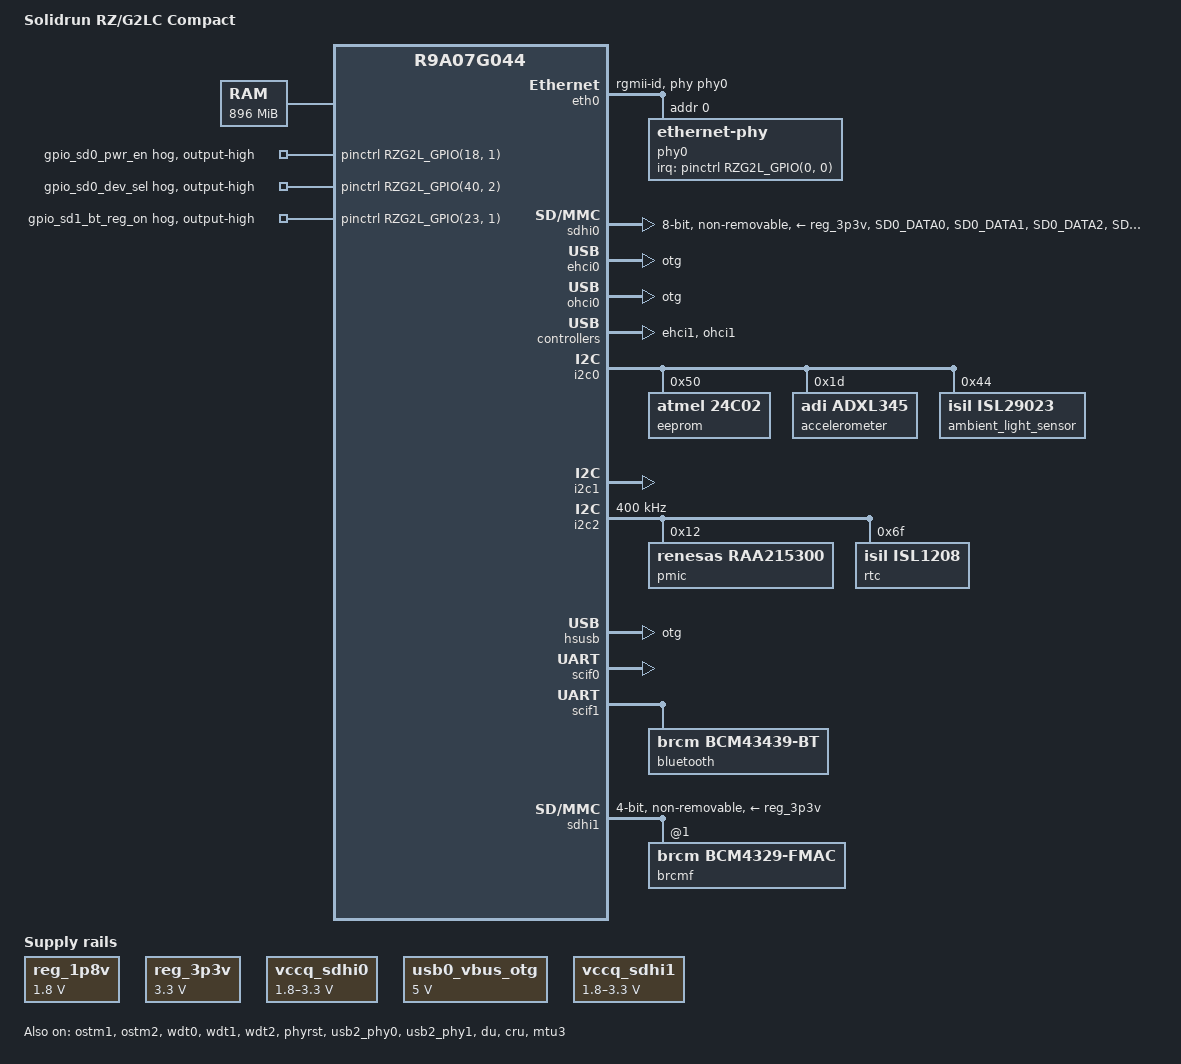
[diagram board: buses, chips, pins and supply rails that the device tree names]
// SPDX-License-Identifier: (GPL-2.0-only OR BSD-2-Clause)
/*
 * Device Tree Source for the RZ/G2LC Solidrun SOM
 *
 * Copyright (C) 2021 Renesas Electronics Corp.
 */

/dts-v1/;
/* RZ/G2LC R9A07G044C2 SoC */
#include "r9a07g044c2.dtsi"

#include <dt-bindings/gpio/gpio.h>
#include <dt-bindings/pinctrl/rzg2l-pinctrl.h>

#include "rzg2lc-compact-pinfunction.dtsi"

/*
 * DIP-Switch SW1 setting on SoM
 * 1 : High; 0: Low
 * Set switch S3[2] : SW_SD0_DEV_SEL	(1: eMMC; 0: uSD)
 */

#define SW_SD0_DEV_SEL	1
#define SW_SCIF_CAN 0

/ {
  model = "Solidrun RZ/G2LC Compact";
  compatible = "renesas,r9a07g044c2", "renesas,r9a07g044";

	aliases {
    serial0 = &scif0;
    serial1 = &scif1;
    i2c0 = &i2c0;
    i2c1 = &i2c1;
		i2c2 = &i2c2;
    mmc0 = &sdhi0;
    mmc1 = &sdhi1;
    ethernet0 = &eth0;
	};

	chosen {
		bootargs = "ignore_loglevel rw root=/dev/nfs ip=on";
	};

	memory@48000000 {
		device_type = "memory";
		/* first 128MB is reserved for secure area. */
		reg = <0x0 0x48000000 0x0 0x38000000>;
	};

	reserved-memory {
		#address-cells = <2>;
		#size-cells = <2>;
		ranges;

		global_cma: linux,cma@58000000 {
			compatible = "shared-dma-pool";
			linux,cma-default;
			reusable;
			reg = <0x0 0x58000000 0x0 0x10000000>;
		};
		mmp_reserved: linux,multimedia {
			compatible = "shared-dma-pool";
			reusable;
			reg = <0x00000000 0x68000000 0x0 0x8000000>;
		};
	};

	mmngr {
		compatible = "renesas,mmngr";
		memory-region = <&mmp_reserved>;
	};

	mmngrbuf {
		compatible = "renesas,mmngrbuf";
	};

	vspm_if {
		compatible = "renesas,vspm_if";
	};

	reg_1p8v: regulator0 {
		compatible = "regulator-fixed";
		regulator-name = "fixed-1.8V";
		regulator-min-microvolt = <1800000>;
		regulator-max-microvolt = <1800000>;
		regulator-boot-on;
		regulator-always-on;
	};

	reg_3p3v: regulator1 {
		compatible = "regulator-fixed";
		regulator-name = "fixed-3.3V";
		regulator-min-microvolt = <3300000>;
		regulator-max-microvolt = <3300000>;
		regulator-boot-on;
		regulator-always-on;
	};

	vccq_sdhi0: regulator-vccq-sdhi0 {
		compatible = "regulator-gpio";

		regulator-name = "SDHI0 VccQ";
		regulator-min-microvolt = <1800000>;
		regulator-max-microvolt = <3300000>;
		states = <3300000 1>, <1800000 0>;
		regulator-boot-on;
		gpios = <&pinctrl RZG2L_GPIO(39, 0) GPIO_ACTIVE_HIGH>;
		regulator-always-on;
	};

  chosen {
    stdout-path = "serial0:115200n8";
  };

  usb0_vbus_otg: regulator-usb0-vbus-otg {
    compatible = "regulator-fixed";

    regulator-name = "USB0_VBUS_OTG";
    regulator-min-microvolt = <5000000>;
    regulator-max-microvolt = <5000000>;
  };

  vccq_sdhi1: regulator-vccq-sdhi1 {
    compatible = "regulator-gpio";
    regulator-name = "SDHI1 VccQ";
    regulator-min-microvolt = <1800000>;
    regulator-max-microvolt = <3300000>;
    gpios-states = <1>;
    states = <3300000 1>, <1800000 0>;
  };

};

&eth0 {
	pinctrl-0 = <&eth0_pins>;
	pinctrl-names = "default";
	phy-handle = <&phy0>;
  max-speed = <100>;
	phy-mode = "rgmii-id";
	status = "okay";

	phy0: ethernet-phy@0 {
    //compatible = "ethernet-phy-id0283.bc30", "ethernet-phy-ieee802.3-c22";
		reg = <0>;
		rxc-skew-psec = <2400>;
		txc-skew-psec = <2400>;
		rxdv-skew-psec = <0>;
		txdv-skew-psec = <0>;
		rxd0-skew-psec = <0>;
		rxd1-skew-psec = <0>;
		rxd2-skew-psec = <0>;
		rxd3-skew-psec = <0>;
		txd0-skew-psec = <0>;
		txd1-skew-psec = <0>;
		txd2-skew-psec = <0>;
		txd3-skew-psec = <0>;

		interrupt-parent = <&pinctrl>;
		interrupts = <RZG2L_GPIO(0, 0) IRQ_TYPE_LEVEL_LOW>;
	};
};

&extal_clk {
	clock-frequency = <24000000>;
};

&ostm1 {
	status = "okay";
};

&ostm2 {
	status = "okay";
};

&pinctrl {
	eth0_pins: eth0 {
		pinmux = <RZG2L_PORT_PINMUX(28, 1, 1)>, /* ET0_LINKSTA */
			 <RZG2L_PORT_PINMUX(27, 1, 1)>, /* ET0_MDC */
			 <RZG2L_PORT_PINMUX(28, 0, 1)>, /* ET0_MDIO */
			 <RZG2L_PORT_PINMUX(20, 0, 1)>, /* ET0_TXC */
			 <RZG2L_PORT_PINMUX(20, 1, 1)>, /* ET0_TX_CTL */
			 <RZG2L_PORT_PINMUX(20, 2, 1)>, /* ET0_TXD0 */
			 <RZG2L_PORT_PINMUX(21, 0, 1)>, /* ET0_TXD1 */
			 <RZG2L_PORT_PINMUX(21, 1, 1)>, /* ET0_TXD2 */
			 <RZG2L_PORT_PINMUX(22, 0, 1)>, /* ET0_TXD3 */
			 <RZG2L_PORT_PINMUX(24, 0, 1)>, /* ET0_RXC */
			 <RZG2L_PORT_PINMUX(24, 1, 1)>, /* ET0_RX_CTL */
			 <RZG2L_PORT_PINMUX(25, 0, 1)>, /* ET0_RXD0 */
			 <RZG2L_PORT_PINMUX(25, 1, 1)>, /* ET0_RXD1 */
			 <RZG2L_PORT_PINMUX(26, 0, 1)>, /* ET0_RXD2 */
			 <RZG2L_PORT_PINMUX(26, 1, 1)>; /* ET0_RXD3 */
	};

	gpio-sd0-pwr-en-hog {
		gpio-hog;
		gpios = <RZG2L_GPIO(18, 1) GPIO_ACTIVE_HIGH>;
		output-high;
		line-name = "gpio_sd0_pwr_en";
	};

	qspi0_pins: qspi0 {
		qspi0-data {
			pins = "QSPI0_IO0", "QSPI0_IO1", "QSPI0_IO2", "QSPI0_IO3";
			power-source = <1800>;
		};

		qspi0-ctrl {
			pins = "QSPI0_SPCLK", "QSPI0_SSL", "QSPI_RESET#";
			power-source = <1800>;
		};
	};

	/*
	 * SD0 device selection is XOR between GPIO_SD0_DEV_SEL and SW1[2]
	 * The below switch logic can be used to select the device between
	 * eMMC and microSD, after setting GPIO_SD0_DEV_SEL to high in DT.
	 * SW1[2] should be at OFF position to enable 64 GB eMMC
	 * SW1[2] should be at position ON to enable uSD card CN3
	 */

	gpio-sd0-dev-sel-hog {
		gpio-hog;
		gpios = <RZG2L_GPIO(40, 2) GPIO_ACTIVE_HIGH>;
		output-high;
		line-name = "gpio_sd0_dev_sel";
	};

  gpio-sd1-bt_reg_on {
    gpio-hog;
    gpios = <RZG2L_GPIO(23, 1) GPIO_ACTIVE_HIGH>;
    output-high;
    line-name = "gpio_sd1_bt_reg_on";
  };

	sdhi0_emmc_pins: sd0emmc {
		sd0_emmc_data {
			pins = "SD0_DATA0", "SD0_DATA1", "SD0_DATA2", "SD0_DATA3",
			       "SD0_DATA4", "SD0_DATA5", "SD0_DATA6", "SD0_DATA7";
			power-source = <1800>;
		};

		sd0_emmc_ctrl {
			pins = "SD0_CLK", "SD0_CMD";
			power-source = <1800>;
		};

		sd0_emmc_rst {
			pins = "SD0_RST#";
			power-source = <1800>;
		};
	};

	sdhi0_pins: sd0 {
		sd0_data {
			pins = "SD0_DATA0", "SD0_DATA1", "SD0_DATA2", "SD0_DATA3";
			power-source = <3300>;
		};

		sd0_ctrl {
			pins = "SD0_CLK", "SD0_CMD";
			power-source = <3300>;
		};

		sd0_mux {
			pinmux = <RZG2L_PORT_PINMUX(18, 0, 1)>; /* SD0_CD */
		};
	};

	sdhi0_pins_uhs: sd0_uhs {
		sd0_data_uhs {
			pins = "SD0_DATA0", "SD0_DATA1", "SD0_DATA2", "SD0_DATA3";
			power-source = <1800>;
		};

		sd0_ctrl_uhs {
			pins = "SD0_CLK", "SD0_CMD";
			power-source = <1800>;
		};

		sd0_mux_uhs {
			pinmux = <RZG2L_PORT_PINMUX(18, 0, 1)>; /* SD0_CD */
		};
	};
};

&sbc {
	pinctrl-0 = <&qspi0_pins>;
	pinctrl-names = "default";
	status = "disabled";
};

#if (!SW_SD0_DEV_SEL)
/* uSD */
&sdhi0 {
	pinctrl-0 = <&sdhi0_pins>;
	pinctrl-1 = <&sdhi0_pins_uhs>;
	pinctrl-names = "default", "state_uhs";

	vmmc-supply = <&reg_3p3v>;
	vqmmc-supply = <&vccq_sdhi0>;
	bus-width = <4>;
	sd-uhs-sdr50;
	sd-uhs-sdr104;
  max-frequency = <50000000>;
	status = "okay";
};
#endif

#if SW_SD0_DEV_SEL
/* eMMC */
&sdhi0 {
	pinctrl-0 = <&sdhi0_emmc_pins>;
	pinctrl-1 = <&sdhi0_emmc_pins>;
	pinctrl-names = "default", "state_uhs";

	vmmc-supply = <&reg_3p3v>;
	vqmmc-supply = <&reg_1p8v>;
	bus-width = <8>;
	mmc-hs200-1_8v;
	non-removable;
	fixed-emmc-driver-type = <1>;
	status = "okay";
};
#endif

&wdt0 {
	status = "okay";
	timeout-sec = <60>;
};

&wdt1 {
	status = "okay";
	timeout-sec = <60>;
};

&wdt2 {
	status = "okay";
	timeout-sec = <60>;
};

&ehci0 {
	memory-region = <&global_cma>;
};

&ohci0 {
	memory-region = <&global_cma>;
};

&ehci1 {
	memory-region = <&global_cma>;
};

&ohci1 {
	memory-region = <&global_cma>;
};

&i2c0 {
	pinctrl-0 = <&i2c0_pins>;
	pinctrl-names = "default";
	status = "okay";

  /* EEPROM CAT24AA01TDI-GT3 1-kb (128 B x 8)  */
  eeprom: eeprom@50 {
    compatible = "atmel,24c02";
    reg = <0x50>;
    pagesize = <16>;
  };

  accelerometer@1d {
    compatible = "adi,adxl345";
    reg = <0x1d>;
    //interrupt-parent = <&gpio1>; //I/O Expander IO0_6
    interrupts = <9 IRQ_TYPE_LEVEL_HIGH>;
  };

  ambient_light_sensor: isl29023@44 {
    compatible = "isil,isl29023";
    reg = <0x44>;
  };
};

&i2c1 {
	pinctrl-0 = <&i2c1_pins>;
	pinctrl-names = "default";
	status = "okay";
};

&i2c2 {
	pinctrl-0 = <&i2c2_pins>;
	pinctrl-names = "default";
	clock-frequency = <400000>;

	status = "okay";

	pmic: raa215300@12 {
		compatible = "renesas,raa215300";
		reg = <0x12>;

		rtc-enable;
	};

	rtc: isl1208@6f {
		compatible = "isil,isl1208";
		reg = <0x6f>;

		//external-oscillator;
	};

};

&canfd {
	//pinctrl-0 = <&can0_pins &can1_pins>;
	pinctrl-names = "default";
	status = "disabled";

	channel0 {
		status = "disabled";
	};

	channel1 {
		status = "disabled";
	};
};

&ehci0 {
	dr_mode = "otg";
	status = "okay";
};

&ehci1 {
	status = "okay";
};

&hsusb {
	dr_mode = "otg";
	status = "okay";
};

&ohci0 {
	dr_mode = "otg";
	status = "okay";
};

&ohci1 {
	status = "okay";
};

&phyrst {
	status = "okay";
};

&scif0 {
	pinctrl-0 = <&scif0_pins>;
	pinctrl-names = "default";
	status = "okay";
};

&scif1 {
	pinctrl-0 = <&scif1_pins>;
	pinctrl-names = "default";

	status = "okay";

  bluetooth {
    pinctrl-names = "default";
    compatible = "brcm,bcm43439-bt";
    //host-wakeup-gpios = <&gpio1 28 0>;
    max-speed = <4000000>;
  };
};

/* WiFi - CYW43439 */
&sdhi1 {
  #address-cells = <1>;
  #size-cells = <0>;
	pinctrl-0 = <&sdhi1_pins>;
	pinctrl-1 = <&sdhi1_pins_uhs>;
	pinctrl-names = "default", "state_uhs";
  status = "okay";

  /*
  cap-power-off-card;
  pm-ignore-notify;
  keep-power-in-suspend;
  */
  non-removable;
	vmmc-supply = <&reg_3p3v>;
	vqmmc-supply = <&vccq_sdhi1>;
	bus-width = <4>;
  max-frequency = <50000000>;
  fsl,delay-line = <12>;
  keep-power-in-suspend;

  brcmf: wifi@1 {
          reg = <1>;
          compatible = "brcm,bcm4329-fmac";
  };
};

&vccq_sdhi1 {
  /* WL_REG_ON (P23_0) */
  gpios = <&pinctrl RZG2L_GPIO(23, 0) GPIO_ACTIVE_HIGH>;
};

&spi1 {
	pinctrl-0 = <&spi1_pins>;
	pinctrl-names = "default";
	dmas = <&dmac 0x2e99>, <&dmac 0x2e9a>;
	dma-names = "tx", "rx";

	status = "disabled";
};


&usb2_phy0 {
	pinctrl-0 = <&usb0_pins>;
	pinctrl-names = "default";

	vbus-supply = <&usb0_vbus_otg>;
	status = "okay";
};

&usb2_phy1 {
	pinctrl-0 = <&usb1_pins>;
	pinctrl-names = "default";

	status = "okay";
};

&du {
	status = "okay";
};

&dsi0 {
	status = "disabled";
};

&cru {
	status = "okay";
};

&mtu3 {
	status = "okay";
};
